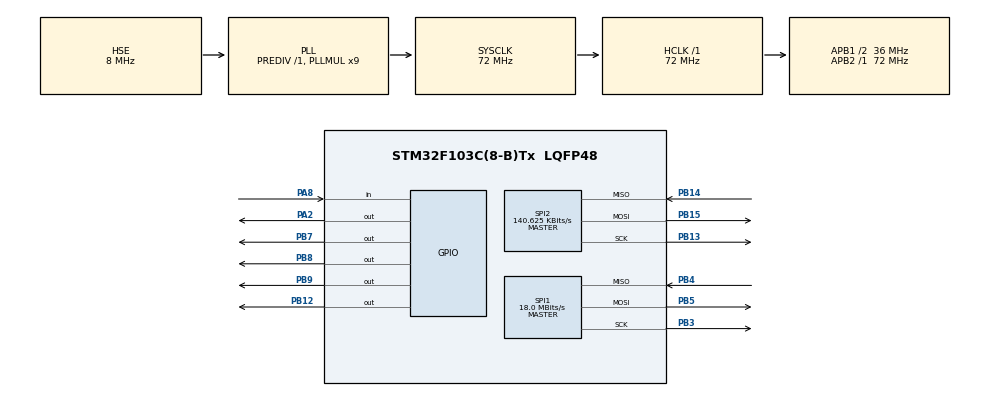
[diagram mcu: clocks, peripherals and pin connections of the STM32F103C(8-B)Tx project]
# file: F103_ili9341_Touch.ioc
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Dma.Request0=SPI1_TX
Dma.SPI1_TX.0.Direction=DMA_MEMORY_TO_PERIPH
Dma.SPI1_TX.0.Instance=DMA1_Channel3
Dma.SPI1_TX.0.MemDataAlignment=DMA_MDATAALIGN_BYTE
Dma.SPI1_TX.0.MemInc=DMA_MINC_ENABLE
Dma.SPI1_TX.0.Mode=DMA_NORMAL
Dma.SPI1_TX.0.PeriphDataAlignment=DMA_PDATAALIGN_BYTE
Dma.SPI1_TX.0.PeriphInc=DMA_PINC_DISABLE
Dma.SPI1_TX.0.Priority=DMA_PRIORITY_VERY_HIGH
Mcu.Family=STM32F1
Mcu.Name=STM32F103C(8-B)Tx
Mcu.Package=LQFP48
NVIC.DMA1_Channel3_IRQn=true\:0\:0\:false\:false\:true\:false\:true\:true
NVIC.PriorityGroup=NVIC_PRIORITYGROUP_4
PA13.Mode=Serial_Wire
PA13.Signal=SYS_JTMS-SWDIO
PA14.Mode=Serial_Wire
PA14.Signal=SYS_JTCK-SWCLK
PA2.Signal=GPIO_Output
PA8.Signal=GPIO_Input
PB12.PinState=GPIO_PIN_SET
PB12.Signal=GPIO_Output
PB13.Mode=Full_Duplex_Master
PB13.Signal=SPI2_SCK
PB14.Mode=Full_Duplex_Master
PB14.Signal=SPI2_MISO
PB15.Mode=Full_Duplex_Master
PB15.Signal=SPI2_MOSI
PB3.Mode=Full_Duplex_Master
PB3.Signal=SPI1_SCK
PB4.Mode=Full_Duplex_Master
PB4.Signal=SPI1_MISO
PB5.Mode=Full_Duplex_Master
PB5.Signal=SPI1_MOSI
PB7.Signal=GPIO_Output
PB8.Signal=GPIO_Output
PB9.Signal=GPIO_Output
PD0-OSC_IN.Mode=HSE-External-Oscillator
PD0-OSC_IN.Signal=RCC_OSC_IN
PD1-OSC_OUT.Mode=HSE-External-Oscillator
PD1-OSC_OUT.Signal=RCC_OSC_OUT
ProjectManager.HeapSize=0x200
ProjectManager.StackSize=0x400
ProjectManager.TargetToolchain=STM32CubeIDE
RCC.AHBFreq_Value=72000000
RCC.APB1CLKDivider=RCC_HCLK_DIV2
RCC.APB1Freq_Value=36000000
RCC.APB1TimFreq_Value=72000000
RCC.APB2Freq_Value=72000000
RCC.APB2TimFreq_Value=72000000
RCC.HCLKFreq_Value=72000000
RCC.PLLMUL=RCC_PLL_MUL9
RCC.PLLSourceVirtual=RCC_PLLSOURCE_HSE
RCC.SYSCLKFreq_VALUE=72000000
RCC.SYSCLKSource=RCC_SYSCLKSOURCE_PLLCLK
RCC.USBFreq_Value=72000000
SPI1.BaudRatePrescaler=SPI_BAUDRATEPRESCALER_4
SPI1.CalculateBaudRate=18.0 MBits/s
SPI1.Direction=SPI_DIRECTION_2LINES
SPI1.Mode=SPI_MODE_MASTER
SPI1.VirtualType=VM_MASTER
SPI2.BaudRatePrescaler=SPI_BAUDRATEPRESCALER_256
SPI2.CalculateBaudRate=140.625 KBits/s
SPI2.Direction=SPI_DIRECTION_2LINES
SPI2.Mode=SPI_MODE_MASTER
SPI2.VirtualType=VM_MASTER
board=custom

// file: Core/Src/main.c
/* USER CODE BEGIN Header */
/**
  ******************************************************************************
  * @file           : main.c
  * @brief          : Main program body
  ******************************************************************************
  * @attention
  *
  * Copyright (c) 2025 STMicroelectronics.
  * All rights reserved.
  *
  * This software is licensed under terms that can be found in the LICENSE file
  * in the root directory of this software component.
  * If no LICENSE file comes with this software, it is provided AS-IS.
  *
  ******************************************************************************
  */
/* USER CODE END Header */
#include "main.h"
#include "dma.h"
#include "spi.h"
#include "gpio.h"

/* USER CODE BEGIN Includes */
#include <stdio.h>
#include "graphics.h"
#include "touch.h"
/* USER CODE END Includes */

void SystemClock_Config(void);

int main(void)
{

  /* USER CODE BEGIN 1 */
	  int16_t x;
	  int16_t y;
  /* USER CODE END 1 */

  /* MCU Configuration--------------------------------------------------------*/

  /* Reset of all peripherals, Initializes the Flash interface and the Systick. */
  HAL_Init();

  /* Configure the system clock */
  SystemClock_Config();

  /* Initialize all configured peripherals */
  MX_GPIO_Init();
  MX_DMA_Init();
  MX_SPI1_Init();
  MX_SPI2_Init();
  /* USER CODE BEGIN 2 */
  GraphicsInit();
  TouchCalibrate();
  GraphicsClear(BLUE);
  /* USER CODE END 2 */

  /* Infinite loop */
  /* USER CODE BEGIN WHILE */
  while (1)
  {
		GraphicsFilledRectangle(50, 200, 50, 15, BLACK);

		if (TouchIsTouched())
		{
		  GraphicsLargeString(50, 200, "Down", YELLOW);
		}
		else
		{
		  GraphicsLargeString(50, 200, "Up", YELLOW);
		}

		if (TouchGetCalibratedPoint(&x, &y))
		{
			if(x >=0 && x<=120 && y>=0 && y<=15)
			{
				GraphicsClear(BLUE);
			}

			char buf[20];
			sprintf(buf, "%hd %hd", x, y);
			GraphicsFilledRectangle(0, 0, 120, 15, BLACK);
			GraphicsLargeString(0, 0, buf, YELLOW);
			GraphicsFilledCircle(x, y, 3, YELLOW);
		}

    /* USER CODE END WHILE */

  }
}

void SystemClock_Config(void)
{
  RCC_OscInitTypeDef RCC_OscInitStruct = {0};
  RCC_ClkInitTypeDef RCC_ClkInitStruct = {0};

  /** Initializes the RCC Oscillators according to the specified parameters
  * in the RCC_OscInitTypeDef structure.
  */
  RCC_OscInitStruct.OscillatorType = RCC_OSCILLATORTYPE_HSE;
  RCC_OscInitStruct.HSEState = RCC_HSE_ON;
  RCC_OscInitStruct.HSEPredivValue = RCC_HSE_PREDIV_DIV1;
  RCC_OscInitStruct.HSIState = RCC_HSI_ON;
  RCC_OscInitStruct.PLL.PLLState = RCC_PLL_ON;
  RCC_OscInitStruct.PLL.PLLSource = RCC_PLLSOURCE_HSE;
  RCC_OscInitStruct.PLL.PLLMUL = RCC_PLL_MUL9;
  if (HAL_RCC_OscConfig(&RCC_OscInitStruct) != HAL_OK)
  {
    Error_Handler();
  }

  /** Initializes the CPU, AHB and APB buses clocks
  */
  RCC_ClkInitStruct.ClockType = RCC_CLOCKTYPE_HCLK|RCC_CLOCKTYPE_SYSCLK
                              |RCC_CLOCKTYPE_PCLK1|RCC_CLOCKTYPE_PCLK2;
  RCC_ClkInitStruct.SYSCLKSource = RCC_SYSCLKSOURCE_PLLCLK;
  RCC_ClkInitStruct.AHBCLKDivider = RCC_SYSCLK_DIV1;
  RCC_ClkInitStruct.APB1CLKDivider = RCC_HCLK_DIV2;
  RCC_ClkInitStruct.APB2CLKDivider = RCC_HCLK_DIV1;

  if (HAL_RCC_ClockConfig(&RCC_ClkInitStruct, FLASH_LATENCY_2) != HAL_OK)
  {
    Error_Handler();
  }
}

void Error_Handler(void)
{
  __disable_irq();
  while (1)
  {
  }
}
